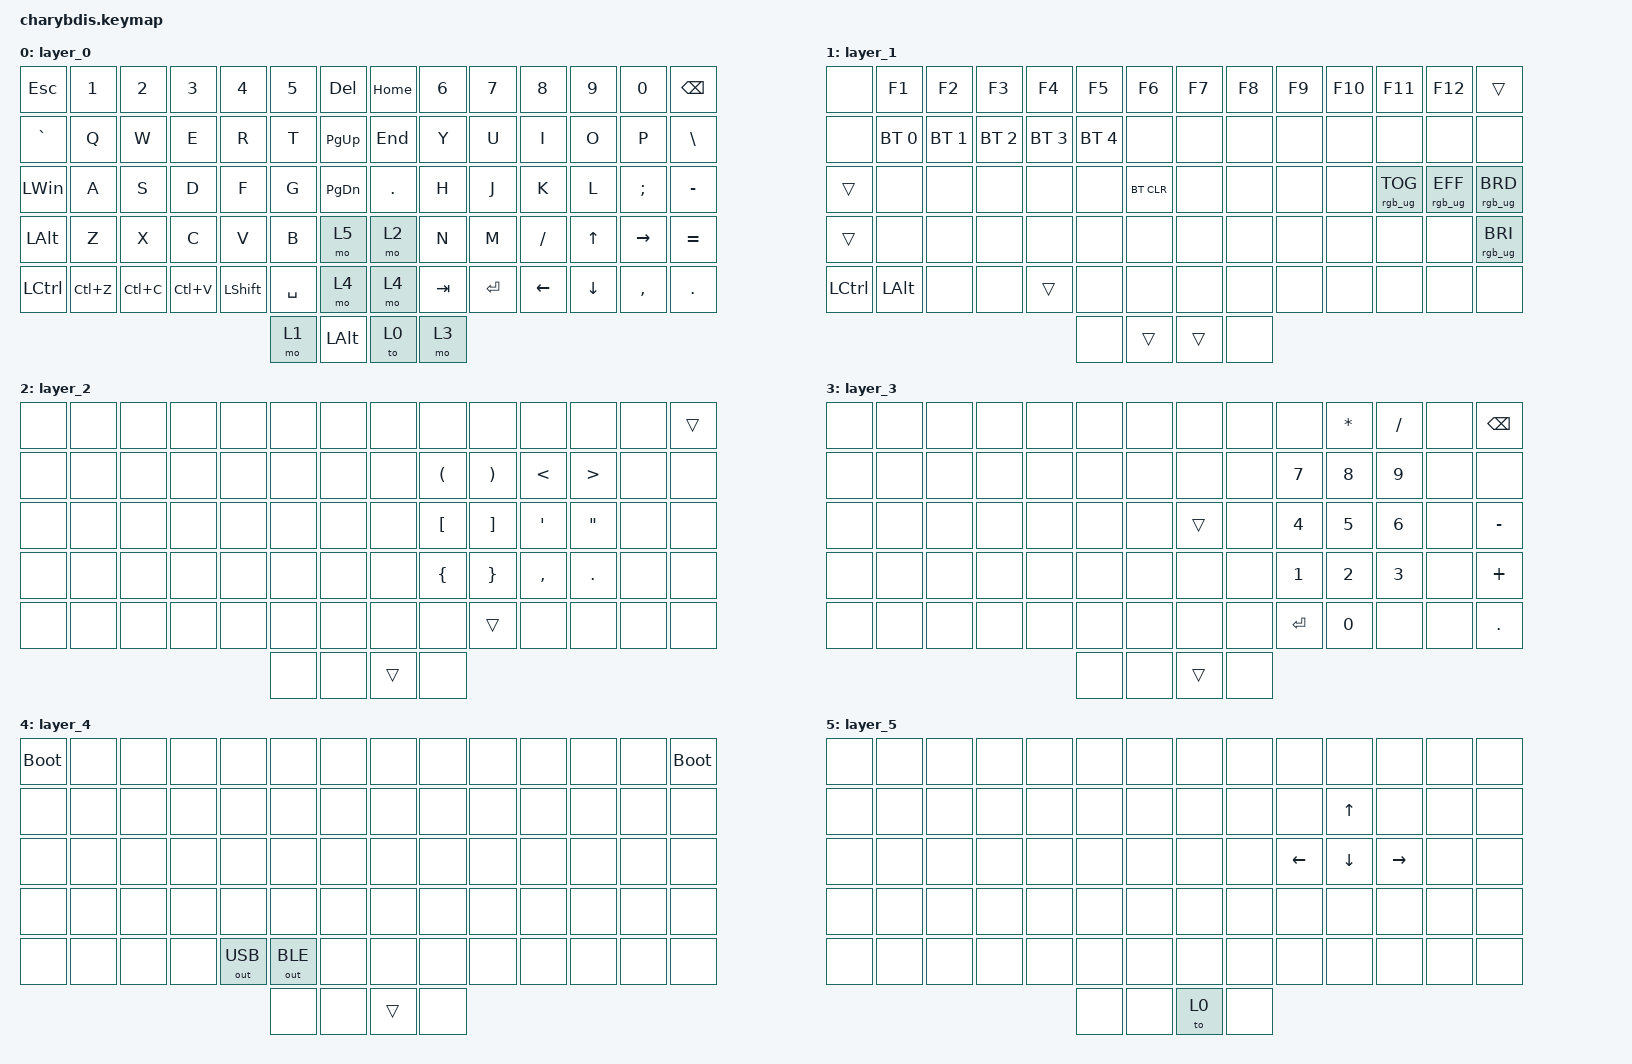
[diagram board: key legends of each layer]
#include <behaviors.dtsi>
#include <dt-bindings/zmk/bt.h>
#include <dt-bindings/zmk/keys.h>
#include <dt-bindings/zmk/outputs.h>
#include <dt-bindings/zmk/rgb.h>

&lt {
    tapping-term-ms = <200>;
    flavor = "balanced";
    quick-tap-ms = <150>;
};

/ {
    keymap {
        compatible = "zmk,keymap";

        layer_0 {
            bindings = <
&kp ESC    &kp NUMBER_1  &kp N2     &kp N3     &kp N4      &kp N5     &kp DEL          &kp HOME  &kp N6   &kp N7     &kp N8    &kp N9        &kp N0     &kp BSPC
&kp GRAVE  &kp Q         &kp W      &kp E      &kp R       &kp T      &kp PG_UP        &kp END   &kp Y    &kp U      &kp I     &kp O         &kp P      &kp BSLH
&kp LWIN   &kp A         &kp S      &kp D      &kp F       &kp G      &kp PAGE_DOWN    &kp DOT   &kp H    &kp J      &kp K     &kp L         &kp SEMI   &kp MINUS
&kp LALT   &kp Z         &kp X      &kp C      &kp V       &kp B      &mo 5            &mo 2     &kp N    &kp M      &kp FSLH  &kp UP_ARROW  &kp RIGHT  &kp EQUAL
&kp LCTRL  &kp LC(Z)     &kp LC(C)  &kp LC(V)  &kp LSHIFT  &kp SPACE  &mo 4            &mo 4     &kp TAB  &kp ENTER  &kp LEFT  &kp DOWN      &kp COMMA  &kp DOT
                                                           &mo 1      &kp LALT         &to 0     &mo 3
            >;
        };

        layer_1 {
            bindings = <
&none      &kp F1        &kp F2        &kp F3        &kp F4        &kp F5        &kp F6        &kp F7  &kp F8  &kp F9  &kp F10  &kp F11          &kp F12          &trans
&none      &bt BT_SEL 0  &bt BT_SEL 1  &bt BT_SEL 2  &bt BT_SEL 3  &bt BT_SEL 4  &none         &none   &none   &none   &none    &none            &none            &none
&trans     &none         &none         &none         &none         &none         &bt BT_CLR    &none   &none   &none   &none    &rgb_ug RGB_TOG  &rgb_ug RGB_EFF  &rgb_ug RGB_BRD
&trans     &none         &none         &none         &none         &none         &none         &none   &none   &none   &none    &none            &none            &rgb_ug RGB_BRI
&kp LCTRL  &kp LEFT_ALT  &none         &none         &trans        &none         &none         &none   &none   &none   &none    &none            &none            &none
                                                                   &none         &trans        &trans  &none
            >;
        };

        layer_2 {
            bindings = <
&none  &none  &none  &none  &none  &none  &none    &none   &none                 &none                  &none          &none              &none  &trans
&none  &none  &none  &none  &none  &none  &none    &none   &kp LEFT_PARENTHESIS  &kp RIGHT_PARENTHESIS  &kp LESS_THAN  &kp GREATER_THAN   &none  &none
&none  &none  &none  &none  &none  &none  &none    &none   &kp LEFT_BRACKET      &kp RIGHT_BRACKET      &kp SQT        &kp DOUBLE_QUOTES  &none  &none
&none  &none  &none  &none  &none  &none  &none    &none   &kp LEFT_BRACE        &kp RIGHT_BRACE        &kp COMMA      &kp DOT            &none  &none
&none  &none  &none  &none  &none  &none  &none    &none   &none                 &trans                 &none          &none              &none  &none
                                   &none  &none    &trans  &none
            >;
        };

        layer_3 {
            bindings = <
&none  &none  &none  &none  &none  &none  &none    &none   &none  &none      &kp ASTERISK  &kp SLASH  &none  &kp BACKSPACE
&none  &none  &none  &none  &none  &none  &none    &none   &none  &kp N7     &kp N8        &kp N9     &none  &none
&none  &none  &none  &none  &none  &none  &none    &trans  &none  &kp N4     &kp N5        &kp N6     &none  &kp MINUS
&none  &none  &none  &none  &none  &none  &none    &none   &none  &kp N1     &kp N2        &kp N3     &none  &kp PLUS
&none  &none  &none  &none  &none  &none  &none    &none   &none  &kp ENTER  &kp N0        &none      &none  &kp DOT
                                   &none  &none    &trans  &none
            >;
        };

        layer_4 {
            bindings = <
&bootloader  &none  &none  &none  &none         &none         &none    &none   &none  &none  &none  &none  &none  &bootloader
&none        &none  &none  &none  &none         &none         &none    &none   &none  &none  &none  &none  &none  &none
&none        &none  &none  &none  &none         &none         &none    &none   &none  &none  &none  &none  &none  &none
&none        &none  &none  &none  &none         &none         &none    &none   &none  &none  &none  &none  &none  &none
&none        &none  &none  &none  &out OUT_USB  &out OUT_BLE  &none    &none   &none  &none  &none  &none  &none  &none
                                                &none         &none    &trans  &none
            >;
        };

        layer_5 {
            bindings = <
&none  &none  &none  &none  &none  &none  &none    &none  &none  &none           &none           &none            &none  &none
&none  &none  &none  &none  &none  &none  &none    &none  &none  &none           &kp UP_ARROW    &none            &none  &none
&none  &none  &none  &none  &none  &none  &none    &none  &none  &kp LEFT_ARROW  &kp DOWN_ARROW  &kp RIGHT_ARROW  &none  &none
&none  &none  &none  &none  &none  &none  &none    &none  &none  &none           &none           &none            &none  &none
&none  &none  &none  &none  &none  &none  &none    &none  &none  &none           &none           &none            &none  &none
                                   &none  &none    &to 0  &none
            >;
        };

        /* layer_2 {
            bindings = <
&none  &none   &none    &none   &none         &none         &kp N1         &none         &none     &none  &none   &to 0
&none  &none   &none    &none   &none         &none         &none         &none          &rgb_ug RGB_BRD &rgb_ug RGB_BRI  &rgb_ug RGB_EFF   &rgb_ug RGB_TOG
&none  &none   &none    &none   &none         &none         &none         &mkp LCLK     &mkp RCLK  &none  &none   &none
&none  &none   &none    &none   &bt BT_NXT  &bt BT_CLR    &none         &none         &none     &none  &none   &none
                                   &none         &none         &none         &none         &none
                                                 &none         &none         &none
            >;
          trackball-bindings = <&tsl>;
            
        };

       Mouse {
            bindings = <
&none        &none         &none         &none         &none      &none         &none       &none      &none         &none         &none         &none
&none        &bt BT_SEL 0  &bt BT_SEL 1  &bt BT_SEL 3  &none      &bt BT_CLR    &bt BT_CLR  &none      &bt BT_SEL 2  &bt BT_SEL 1  &bt BT_SEL 0  &none
&none        &trans        &trans        &mkp MCLK     &trans     &none         &none       &trans     &mkp MCLK     &trans        &trans        &none
&bootloader  &trans        &mkp RCLK     &mo 4         &mkp LCLK  &mo 5         &mo 5       &mkp LCLK  &mo 4         &mkp RCLK     &trans        &bootloader
                                         &mo 5         &mkp LCLK  &mkp RCLK     &mkp RCLK   &mkp LCLK
                                                       &none      &trans        &trans
            >;

            
        };

        layer_4 {
            bindings = <
&trans  &trans  &trans     &trans     &trans     &trans       &trans     &trans     &trans     &trans     &trans  &trans
&trans  &trans  &trans     &trans     &trans     &trans       &trans     &trans     &trans     &trans     &trans  &trans
&trans  &trans  &trans     &mkp MCLK  &trans     &trans       &trans     &trans     &mkp MCLK  &trans     &trans  &trans
&trans  &trans  &mkp RCLK  &trans     &mkp LCLK  &trans       &trans     &mkp LCLK  &trans     &mkp RCLK  &trans  &trans
                           &trans     &mkp LCLK  &mkp RCLK    &mkp RCLK  &mkp LCLK
                                      &trans     &trans       &trans
            >;
                
                
                trackball-bindings = <&tsl>;
        };

        layer_5 {
            bindings = <
&trans  &trans  &trans     &trans     &trans     &trans       &trans     &trans     &trans     &trans     &trans  &trans
&trans  &trans  &trans     &trans     &trans     &trans       &trans     &trans     &trans     &trans     &trans  &trans
&trans  &trans  &trans     &mkp MCLK  &trans     &trans       &trans     &trans     &mkp MCLK  &trans     &trans  &trans
&trans  &trans  &mkp RCLK  &trans     &mkp LCLK  &trans       &trans     &mkp LCLK  &trans     &mkp RCLK  &trans  &trans
                           &trans     &mkp LCLK  &mkp RCLK    &mkp RCLK  &mkp LCLK
                                      &trans     &trans       &trans
            >;
                trackball-bindings = <&tmv_fine>;
                
        };*/
    };
};
